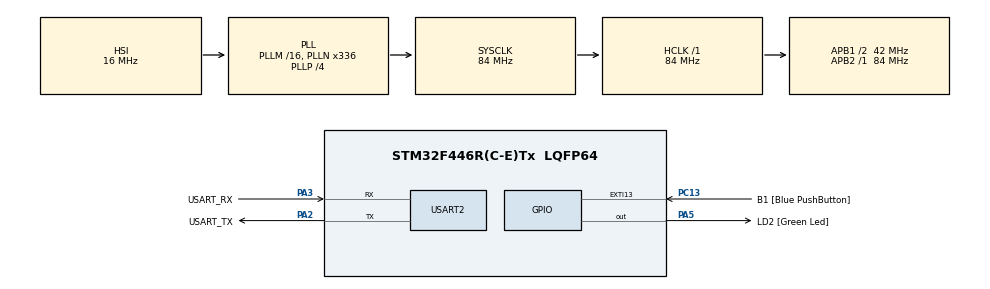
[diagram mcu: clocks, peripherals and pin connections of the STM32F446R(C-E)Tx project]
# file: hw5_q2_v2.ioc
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Mcu.Family=STM32F4
Mcu.Name=STM32F446R(C-E)Tx
Mcu.Package=LQFP64
NVIC.PriorityGroup=NVIC_PRIORITYGROUP_0
PA13.GPIO_Label=TMS
PA13.Mode=Serial_Wire
PA13.Signal=SYS_JTMS-SWDIO
PA14.GPIO_Label=TCK
PA14.Mode=Serial_Wire
PA14.Signal=SYS_JTCK-SWCLK
PA2.GPIO_Label=USART_TX
PA2.Mode=Asynchronous
PA2.Signal=USART2_TX
PA3.GPIO_Label=USART_RX
PA3.Mode=Asynchronous
PA3.Signal=USART2_RX
PA5.GPIO_Label=LD2 [Green Led]
PA5.Signal=GPIO_Output
PB3.GPIO_Label=SWO
PB3.Signal=SYS_JTDO-SWO
PC13.GPIO_Label=B1 [Blue PushButton]
PC13.GPIO_ModeDefaultEXTI=GPIO_MODE_IT_FALLING
PC13.Signal=GPXTI13
PC14-OSC32_IN.Mode=LSE-External-Oscillator
PC14-OSC32_IN.Signal=RCC_OSC32_IN
PC15-OSC32_OUT.Mode=LSE-External-Oscillator
PC15-OSC32_OUT.Signal=RCC_OSC32_OUT
PH0-OSC_IN.Mode=HSE-External-Oscillator
PH0-OSC_IN.Signal=RCC_OSC_IN
PH1-OSC_OUT.Mode=HSE-External-Oscillator
PH1-OSC_OUT.Signal=RCC_OSC_OUT
ProjectManager.HeapSize=0x200
ProjectManager.StackSize=0x400
ProjectManager.TargetToolchain=STM32CubeIDE
RCC.48MHZClocksFreq_Value=84000000
RCC.AHBFreq_Value=84000000
RCC.APB1CLKDivider=RCC_HCLK_DIV2
RCC.APB1Freq_Value=42000000
RCC.APB1TimFreq_Value=84000000
RCC.APB2Freq_Value=84000000
RCC.APB2TimFreq_Value=84000000
RCC.CortexFreq_Value=84000000
RCC.FLatency-AdvancedSettings=FLASH_LATENCY_2
RCC.HCLKFreq_Value=84000000
RCC.HSE_VALUE=8000000
RCC.HSI_VALUE=16000000
RCC.PLLN=336
RCC.PLLP=RCC_PLLP_DIV4
RCC.SYSCLKFreq_VALUE=84000000
RCC.SYSCLKSource=RCC_SYSCLKSOURCE_PLLCLK
RCC.USBFreq_Value=168000000
RCC.VCOOutputFreq_Value=336000000
STMicroelectronics.X-CUBE-AI.10.2.0.ActivationBufferSizeList=3220
STMicroelectronics.X-CUBE-AI.10.2.0.ActivationBuffers=pool0
STMicroelectronics.X-CUBE-AI.10.2.0.ActivationNames=pool0
STMicroelectronics.X-CUBE-AI.10.2.0.ActivationSizes=AI_NETWORK_DATA_ACTIVATION_1_SIZE
STMicroelectronics.X-CUBE-AI.10.2.0.HeapSize=0x800
STMicroelectronics.X-CUBE-AI.10.2.0.InternalRamActivationBufferMaxSize=AI_NETWORK_DATA_ACTIVATIONS_SIZE
STMicroelectronics.X-CUBE-AI.10.2.0.LatestDirectoryUsed-66f0eb90cf7a716a49a1b99ee3e63279f6f170bb1072b689d2cab201fa09cfdc=C\:\\Users\\muham\\Downloads\\EE4065_hw5
STMicroelectronics.X-CUBE-AI.10.2.0.MaximumNumberOfInputLayer=1
STMicroelectronics.X-CUBE-AI.10.2.0.MaximumNumberOfOutputLayer=1
STMicroelectronics.X-CUBE-AI.10.2.0.MaximumSizeOfInputLayer=1
STMicroelectronics.X-CUBE-AI.10.2.0.MaximumSizeOfOutputLayer=1
STMicroelectronics.X-CUBE-AI.10.2.0.ModelActualCompression-66f0eb90cf7a716a49a1b99ee3e63279f6f170bb1072b689d2cab201fa09cfdc=0.0
STMicroelectronics.X-CUBE-AI.10.2.0.ModelCompression-66f0eb90cf7a716a49a1b99ee3e63279f6f170bb1072b689d2cab201fa09cfdc=None
STMicroelectronics.X-CUBE-AI.10.2.0.ModelFlashOccupation-66f0eb90cf7a716a49a1b99ee3e63279f6f170bb1072b689d2cab201fa09cfdc=138740
STMicroelectronics.X-CUBE-AI.10.2.0.ModelHashList=66f0eb90cf7a716a49a1b99ee3e63279f6f170bb1072b689d2cab201fa09cfdc
STMicroelectronics.X-CUBE-AI.10.2.0.ModelKind-66f0eb90cf7a716a49a1b99ee3e63279f6f170bb1072b689d2cab201fa09cfdc=TFLITE
STMicroelectronics.X-CUBE-AI.10.2.0.ModelMacc-66f0eb90cf7a716a49a1b99ee3e63279f6f170bb1072b689d2cab201fa09cfdc=32360
STMicroelectronics.X-CUBE-AI.10.2.0.ModelName-66f0eb90cf7a716a49a1b99ee3e63279f6f170bb1072b689d2cab201fa09cfdc=network
STMicroelectronics.X-CUBE-AI.10.2.0.ModelNameList=network
STMicroelectronics.X-CUBE-AI.10.2.0.ModelRamOccupation-66f0eb90cf7a716a49a1b99ee3e63279f6f170bb1072b689d2cab201fa09cfdc=3220
STMicroelectronics.X-CUBE-AI.10.2.0.ModelStructureFile-66f0eb90cf7a716a49a1b99ee3e63279f6f170bb1072b689d2cab201fa09cfdc=C\:\\Users\\muham\\Downloads\\EE4065_hw5\\mlp_kws_model.tflite
STMicroelectronics.X-CUBE-AI.10.2.0.ModelType-66f0eb90cf7a716a49a1b99ee3e63279f6f170bb1072b689d2cab201fa09cfdc=STM32Cube.AI MCU runtime
STMicroelectronics.X-CUBE-AI.10.2.0.ReadyForCodeGeneration=true
STMicroelectronics.X-CUBE-AI.10.2.0.StackSize=0x800
STMicroelectronics.X-CUBE-AI.10.2.0.WorkingBufferStartAddrList=0xFFFFFFFF
STMicroelectronics.X-CUBE-AI.10.2.0.XAaCUBEAaAICcArtificialOoIntelligenceJjCore=true
STMicroelectronics.X-CUBE-AI.10.2.0.copyWeightToRam=false
STMicroelectronics.X-CUBE-AI.10.2.0.customLayerConfigEnabled=false
STMicroelectronics.X-CUBE-AI.10.2.0.noOnnxIoTranspose=false
STMicroelectronics.X-CUBE-AI.10.2.0.useInputAllocation=true
STMicroelectronics.X-CUBE-AI.10.2.0.useOutputAllocation=true
USART2.VirtualMode=VM_ASYNC
VP_CRC_VS_CRC.Mode=CRC_Activate
VP_STMicroelectronics.X-CUBE-AI_VS_ArtificialOoIntelligenceJjXAaCUBEAaAI_10.2.0.Mode=ArtificialOoIntelligenceJjXAaCUBEAaAI
board=NUCLEO-F446RE

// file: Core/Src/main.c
/* USER CODE BEGIN Header */
/**
  ******************************************************************************
  * @file           : main.c
  * @brief          : Main program body
  ******************************************************************************
  * @attention
  *
  * Copyright (c) 2026 STMicroelectronics.
  * All rights reserved.
  *
  * This software is licensed under terms that can be found in the LICENSE file
  * in the root directory of this software component.
  * If no LICENSE file comes with this software, it is provided AS-IS.
  *
  ******************************************************************************
  */
/* USER CODE END Header */
#include "main.h"

/* USER CODE BEGIN Includes */
#include "network.h"
#include "network_data.h"
#include "test_data.h"
#include <stdio.h>
#include <string.h>
/* USER CODE END Includes */

CRC_HandleTypeDef hcrc;

UART_HandleTypeDef huart2;

/* USER CODE BEGIN PV */
static ai_handle network = AI_HANDLE_NULL;

AI_ALIGNED(4) static ai_u8 activations[AI_NETWORK_DATA_ACTIVATIONS_SIZE];
AI_ALIGNED(4) static float in_data[AI_NETWORK_IN_1_SIZE];
AI_ALIGNED(4) static float out_data[AI_NETWORK_OUT_1_SIZE];
/* USER CODE END PV */

void SystemClock_Config(void);
static void MX_GPIO_Init(void);
static void MX_USART2_UART_Init(void);
static void MX_CRC_Init(void);

/* USER CODE BEGIN 0 */
static int ai_init(void)
{
  ai_error err;

  err = ai_network_create(&network, AI_NETWORK_DATA_CONFIG);
  if (err.type != AI_ERROR_NONE) return -1;

  const ai_network_params params = {
    .params = AI_NETWORK_DATA_WEIGHTS(ai_network_data_weights_get()),
    .activations = AI_NETWORK_DATA_ACTIVATIONS(activations),
  };

  if (!ai_network_init(network, &params)) return -2;

  return 0;
}

static int ai_run(const float *input, float *output)
{
  ai_i32 n_batch;

  ai_buffer *ai_input = ai_network_inputs_get(network, NULL);
  ai_buffer *ai_output = ai_network_outputs_get(network, NULL);

  if (!ai_input || !ai_output) return -1;

  ai_input[0].data  = AI_HANDLE_PTR((ai_u8*)input);
  ai_output[0].data = AI_HANDLE_PTR((ai_u8*)output);

  n_batch = ai_network_run(network, ai_input, ai_output);
  return (n_batch == 1) ? 0 : -2;
}

extern UART_HandleTypeDef huart2;

static void uart_print(const char *s)
{
  HAL_UART_Transmit(&huart2, (uint8_t*)s, strlen(s), HAL_MAX_DELAY);
}
/* USER CODE END 0 */

int main(void)
{

  /* MCU Configuration--------------------------------------------------------*/

  /* Reset of all peripherals, Initializes the Flash interface and the Systick. */
  HAL_Init();

  /* Configure the system clock */
  SystemClock_Config();

  /* Initialize all configured peripherals */
  MX_GPIO_Init();
  MX_USART2_UART_Init();
  MX_CRC_Init();
  /* USER CODE BEGIN 2 */
  char buf[128];
  if (ai_init() != 0) {
    uart_print("AI init FAILED\r\n");
    while(1);
  }
  uart_print("AI init OK\r\n");
  printf("UART OK\r\n");
  // input kopyala
  for (int i = 0; i < AI_NETWORK_IN_1_SIZE; i++)
    in_data[i] = test_input_data[i];

  // inference
  if (ai_run(in_data, out_data) != 0) {
    uart_print("AI run FAILED\r\n");
    while(1);
  }

  // output yazdır
  uart_print("Output scores:\r\n");
  for (int i = 0; i < AI_NETWORK_OUT_1_SIZE; i++) {
    snprintf(buf, sizeof(buf), "%d: %.6f\r\n", i, out_data[i]); // @suppress("Float formatting support")
    uart_print(buf);
  }

  // argmax
  int best_i = 0;
  float best_v = out_data[0];
  for (int i = 1; i < AI_NETWORK_OUT_1_SIZE; i++) {
    if (out_data[i] > best_v) { best_v = out_data[i]; best_i = i; }
  }
  snprintf(buf, sizeof(buf), "Predicted class = %d (score=%.6f)\r\n", best_i, best_v); // @suppress("Float formatting support")
  uart_print(buf);
  /* USER CODE END 2 */

  /* Infinite loop */
  /* USER CODE BEGIN WHILE */
  while (1)
  {
	  HAL_Delay(1000);
    /* USER CODE END WHILE */

  }
}

void SystemClock_Config(void)
{
  RCC_OscInitTypeDef RCC_OscInitStruct = {0};
  RCC_ClkInitTypeDef RCC_ClkInitStruct = {0};

  /** Configure the main internal regulator output voltage
  */
  __HAL_RCC_PWR_CLK_ENABLE();
  __HAL_PWR_VOLTAGESCALING_CONFIG(PWR_REGULATOR_VOLTAGE_SCALE3);

  /** Initializes the RCC Oscillators according to the specified parameters
  * in the RCC_OscInitTypeDef structure.
  */
  RCC_OscInitStruct.OscillatorType = RCC_OSCILLATORTYPE_HSI;
  RCC_OscInitStruct.HSIState = RCC_HSI_ON;
  RCC_OscInitStruct.HSICalibrationValue = RCC_HSICALIBRATION_DEFAULT;
  RCC_OscInitStruct.PLL.PLLState = RCC_PLL_ON;
  RCC_OscInitStruct.PLL.PLLSource = RCC_PLLSOURCE_HSI;
  RCC_OscInitStruct.PLL.PLLM = 16;
  RCC_OscInitStruct.PLL.PLLN = 336;
  RCC_OscInitStruct.PLL.PLLP = RCC_PLLP_DIV4;
  RCC_OscInitStruct.PLL.PLLQ = 2;
  RCC_OscInitStruct.PLL.PLLR = 2;
  if (HAL_RCC_OscConfig(&RCC_OscInitStruct) != HAL_OK)
  {
    Error_Handler();
  }

  /** Initializes the CPU, AHB and APB buses clocks
  */
  RCC_ClkInitStruct.ClockType = RCC_CLOCKTYPE_HCLK|RCC_CLOCKTYPE_SYSCLK
                              |RCC_CLOCKTYPE_PCLK1|RCC_CLOCKTYPE_PCLK2;
  RCC_ClkInitStruct.SYSCLKSource = RCC_SYSCLKSOURCE_PLLCLK;
  RCC_ClkInitStruct.AHBCLKDivider = RCC_SYSCLK_DIV1;
  RCC_ClkInitStruct.APB1CLKDivider = RCC_HCLK_DIV2;
  RCC_ClkInitStruct.APB2CLKDivider = RCC_HCLK_DIV1;

  if (HAL_RCC_ClockConfig(&RCC_ClkInitStruct, FLASH_LATENCY_2) != HAL_OK)
  {
    Error_Handler();
  }
}

static void MX_CRC_Init(void)
{

  hcrc.Instance = CRC;
  if (HAL_CRC_Init(&hcrc) != HAL_OK)
  {
    Error_Handler();
  }

}

static void MX_USART2_UART_Init(void)
{

  huart2.Instance = USART2;
  huart2.Init.BaudRate = 115200;
  huart2.Init.WordLength = UART_WORDLENGTH_8B;
  huart2.Init.StopBits = UART_STOPBITS_1;
  huart2.Init.Parity = UART_PARITY_NONE;
  huart2.Init.Mode = UART_MODE_TX_RX;
  huart2.Init.HwFlowCtl = UART_HWCONTROL_NONE;
  huart2.Init.OverSampling = UART_OVERSAMPLING_16;
  if (HAL_UART_Init(&huart2) != HAL_OK)
  {
    Error_Handler();
  }

}

static void MX_GPIO_Init(void)
{
  GPIO_InitTypeDef GPIO_InitStruct = {0};

  /* GPIO Ports Clock Enable */
  __HAL_RCC_GPIOC_CLK_ENABLE();
  __HAL_RCC_GPIOH_CLK_ENABLE();
  __HAL_RCC_GPIOA_CLK_ENABLE();
  __HAL_RCC_GPIOB_CLK_ENABLE();

  /*Configure GPIO pin Output Level */
  HAL_GPIO_WritePin(LD2_GPIO_Port, LD2_Pin, GPIO_PIN_RESET);

  /*Configure GPIO pin : B1_Pin */
  GPIO_InitStruct.Pin = B1_Pin;
  GPIO_InitStruct.Mode = GPIO_MODE_IT_FALLING;
  GPIO_InitStruct.Pull = GPIO_NOPULL;
  HAL_GPIO_Init(B1_GPIO_Port, &GPIO_InitStruct);

  /*Configure GPIO pin : LD2_Pin */
  GPIO_InitStruct.Pin = LD2_Pin;
  GPIO_InitStruct.Mode = GPIO_MODE_OUTPUT_PP;
  GPIO_InitStruct.Pull = GPIO_NOPULL;
  GPIO_InitStruct.Speed = GPIO_SPEED_FREQ_LOW;
  HAL_GPIO_Init(LD2_GPIO_Port, &GPIO_InitStruct);

}

void Error_Handler(void)
{
  __disable_irq();
  while (1)
  {
  }
}
